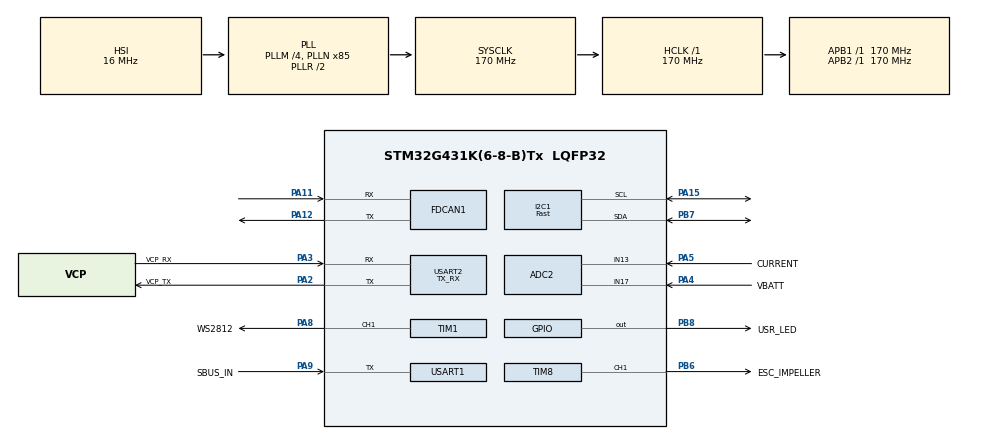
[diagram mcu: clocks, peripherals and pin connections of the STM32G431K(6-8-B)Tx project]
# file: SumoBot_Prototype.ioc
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ADC2.Channel-0\#ChannelRegularConversion=ADC_CHANNEL_17
ADC2.ClockPrescaler=ADC_CLOCK_ASYNC_DIV64
ADC2.NbrOfConversionFlag=1
ADC2.OffsetNumber-0\#ChannelRegularConversion=ADC_OFFSET_NONE
ADC2.Rank-0\#ChannelRegularConversion=1
ADC2.SamplingTime-0\#ChannelRegularConversion=ADC_SAMPLETIME_2CYCLES_5
Dma.ADC2.2.Direction=DMA_PERIPH_TO_MEMORY
Dma.ADC2.2.EventEnable=DISABLE
Dma.ADC2.2.Instance=DMA1_Channel5
Dma.ADC2.2.MemDataAlignment=DMA_MDATAALIGN_HALFWORD
Dma.ADC2.2.MemInc=DMA_MINC_ENABLE
Dma.ADC2.2.Mode=DMA_NORMAL
Dma.ADC2.2.PeriphDataAlignment=DMA_PDATAALIGN_HALFWORD
Dma.ADC2.2.PeriphInc=DMA_PINC_DISABLE
Dma.ADC2.2.Polarity=HAL_DMAMUX_REQ_GEN_RISING
Dma.ADC2.2.Priority=DMA_PRIORITY_LOW
Dma.ADC2.2.RequestNumber=1
Dma.ADC2.2.SignalID=NONE
Dma.ADC2.2.SyncEnable=DISABLE
Dma.ADC2.2.SyncPolarity=HAL_DMAMUX_SYNC_NO_EVENT
Dma.ADC2.2.SyncRequestNumber=1
Dma.ADC2.2.SyncSignalID=NONE
Dma.FMAC_READ.4.Direction=DMA_PERIPH_TO_MEMORY
Dma.FMAC_READ.4.EventEnable=DISABLE
Dma.FMAC_READ.4.Instance=DMA2_Channel1
Dma.FMAC_READ.4.MemDataAlignment=DMA_MDATAALIGN_HALFWORD
Dma.FMAC_READ.4.MemInc=DMA_MINC_ENABLE
Dma.FMAC_READ.4.Mode=DMA_NORMAL
Dma.FMAC_READ.4.PeriphDataAlignment=DMA_PDATAALIGN_WORD
Dma.FMAC_READ.4.PeriphInc=DMA_PINC_DISABLE
Dma.FMAC_READ.4.Polarity=HAL_DMAMUX_REQ_GEN_RISING
Dma.FMAC_READ.4.Priority=DMA_PRIORITY_MEDIUM
Dma.FMAC_READ.4.RequestNumber=1
Dma.FMAC_READ.4.SignalID=NONE
Dma.FMAC_READ.4.SyncEnable=DISABLE
Dma.FMAC_READ.4.SyncPolarity=HAL_DMAMUX_SYNC_NO_EVENT
Dma.FMAC_READ.4.SyncRequestNumber=1
Dma.FMAC_READ.4.SyncSignalID=NONE
Dma.FMAC_WRITE.3.Direction=DMA_MEMORY_TO_PERIPH
Dma.FMAC_WRITE.3.EventEnable=DISABLE
Dma.FMAC_WRITE.3.Instance=DMA1_Channel6
Dma.FMAC_WRITE.3.MemDataAlignment=DMA_MDATAALIGN_HALFWORD
Dma.FMAC_WRITE.3.MemInc=DMA_MINC_ENABLE
Dma.FMAC_WRITE.3.Mode=DMA_NORMAL
Dma.FMAC_WRITE.3.PeriphDataAlignment=DMA_PDATAALIGN_WORD
Dma.FMAC_WRITE.3.PeriphInc=DMA_PINC_DISABLE
Dma.FMAC_WRITE.3.Polarity=HAL_DMAMUX_REQ_GEN_RISING
Dma.FMAC_WRITE.3.Priority=DMA_PRIORITY_MEDIUM
Dma.FMAC_WRITE.3.RequestNumber=1
Dma.FMAC_WRITE.3.SignalID=NONE
Dma.FMAC_WRITE.3.SyncEnable=DISABLE
Dma.FMAC_WRITE.3.SyncPolarity=HAL_DMAMUX_SYNC_NO_EVENT
Dma.FMAC_WRITE.3.SyncRequestNumber=1
Dma.FMAC_WRITE.3.SyncSignalID=NONE
Dma.I2C1_RX.1.Direction=DMA_PERIPH_TO_MEMORY
Dma.I2C1_RX.1.EventEnable=DISABLE
Dma.I2C1_RX.1.Instance=DMA1_Channel2
Dma.I2C1_RX.1.MemDataAlignment=DMA_MDATAALIGN_BYTE
Dma.I2C1_RX.1.MemInc=DMA_MINC_ENABLE
Dma.I2C1_RX.1.Mode=DMA_NORMAL
Dma.I2C1_RX.1.PeriphDataAlignment=DMA_PDATAALIGN_BYTE
Dma.I2C1_RX.1.PeriphInc=DMA_PINC_DISABLE
Dma.I2C1_RX.1.Polarity=HAL_DMAMUX_REQ_GEN_RISING
Dma.I2C1_RX.1.Priority=DMA_PRIORITY_MEDIUM
Dma.I2C1_RX.1.RequestNumber=1
Dma.I2C1_RX.1.SignalID=NONE
Dma.I2C1_RX.1.SyncEnable=DISABLE
Dma.I2C1_RX.1.SyncPolarity=HAL_DMAMUX_SYNC_NO_EVENT
Dma.I2C1_RX.1.SyncRequestNumber=1
Dma.I2C1_RX.1.SyncSignalID=NONE
Dma.Request0=TIM1_CH1
Dma.Request1=I2C1_RX
Dma.Request2=ADC2
Dma.Request3=FMAC_WRITE
Dma.Request4=FMAC_READ
Dma.Request5=USART1_RX
Dma.Request6=USART2_TX
Dma.Request7=TIM8_CH1
Dma.TIM1_CH1.0.Direction=DMA_MEMORY_TO_PERIPH
Dma.TIM1_CH1.0.EventEnable=DISABLE
Dma.TIM1_CH1.0.Instance=DMA1_Channel1
Dma.TIM1_CH1.0.MemDataAlignment=DMA_MDATAALIGN_WORD
Dma.TIM1_CH1.0.MemInc=DMA_MINC_ENABLE
Dma.TIM1_CH1.0.Mode=DMA_CIRCULAR
Dma.TIM1_CH1.0.PeriphDataAlignment=DMA_PDATAALIGN_WORD
Dma.TIM1_CH1.0.PeriphInc=DMA_PINC_DISABLE
Dma.TIM1_CH1.0.Polarity=HAL_DMAMUX_REQ_GEN_RISING
Dma.TIM1_CH1.0.Priority=DMA_PRIORITY_LOW
Dma.TIM1_CH1.0.RequestNumber=1
Dma.TIM1_CH1.0.SignalID=NONE
Dma.TIM1_CH1.0.SyncEnable=DISABLE
Dma.TIM1_CH1.0.SyncPolarity=HAL_DMAMUX_SYNC_NO_EVENT
Dma.TIM1_CH1.0.SyncRequestNumber=1
Dma.TIM1_CH1.0.SyncSignalID=NONE
Dma.TIM8_CH1.7.Direction=DMA_PERIPH_TO_MEMORY
Dma.TIM8_CH1.7.EventEnable=DISABLE
Dma.TIM8_CH1.7.Instance=DMA2_Channel3
Dma.TIM8_CH1.7.MemDataAlignment=DMA_MDATAALIGN_HALFWORD
Dma.TIM8_CH1.7.MemInc=DMA_MINC_ENABLE
Dma.TIM8_CH1.7.Mode=DMA_CIRCULAR
Dma.TIM8_CH1.7.PeriphDataAlignment=DMA_PDATAALIGN_HALFWORD
Dma.TIM8_CH1.7.PeriphInc=DMA_PINC_DISABLE
Dma.TIM8_CH1.7.Polarity=HAL_DMAMUX_REQ_GEN_RISING
Dma.TIM8_CH1.7.Priority=DMA_PRIORITY_HIGH
Dma.TIM8_CH1.7.RequestNumber=1
Dma.TIM8_CH1.7.SignalID=NONE
Dma.TIM8_CH1.7.SyncEnable=DISABLE
Dma.TIM8_CH1.7.SyncPolarity=HAL_DMAMUX_SYNC_NO_EVENT
Dma.TIM8_CH1.7.SyncRequestNumber=1
Dma.TIM8_CH1.7.SyncSignalID=NONE
Dma.USART1_RX.5.Direction=DMA_PERIPH_TO_MEMORY
Dma.USART1_RX.5.EventEnable=DISABLE
Dma.USART1_RX.5.Instance=DMA1_Channel3
Dma.USART1_RX.5.MemDataAlignment=DMA_MDATAALIGN_BYTE
Dma.USART1_RX.5.MemInc=DMA_MINC_ENABLE
Dma.USART1_RX.5.Mode=DMA_NORMAL
Dma.USART1_RX.5.PeriphDataAlignment=DMA_PDATAALIGN_BYTE
Dma.USART1_RX.5.PeriphInc=DMA_PINC_DISABLE
Dma.USART1_RX.5.Polarity=HAL_DMAMUX_REQ_GEN_RISING
Dma.USART1_RX.5.Priority=DMA_PRIORITY_VERY_HIGH
Dma.USART1_RX.5.RequestNumber=1
Dma.USART1_RX.5.SignalID=NONE
Dma.USART1_RX.5.SyncEnable=DISABLE
Dma.USART1_RX.5.SyncPolarity=HAL_DMAMUX_SYNC_NO_EVENT
Dma.USART1_RX.5.SyncRequestNumber=1
Dma.USART1_RX.5.SyncSignalID=NONE
Dma.USART2_TX.6.Direction=DMA_MEMORY_TO_PERIPH
Dma.USART2_TX.6.EventEnable=DISABLE
Dma.USART2_TX.6.Instance=DMA1_Channel4
Dma.USART2_TX.6.MemDataAlignment=DMA_MDATAALIGN_BYTE
Dma.USART2_TX.6.MemInc=DMA_MINC_ENABLE
Dma.USART2_TX.6.Mode=DMA_NORMAL
Dma.USART2_TX.6.PeriphDataAlignment=DMA_PDATAALIGN_BYTE
Dma.USART2_TX.6.PeriphInc=DMA_PINC_DISABLE
Dma.USART2_TX.6.Polarity=HAL_DMAMUX_REQ_GEN_RISING
Dma.USART2_TX.6.Priority=DMA_PRIORITY_LOW
Dma.USART2_TX.6.RequestNumber=1
Dma.USART2_TX.6.SignalID=NONE
Dma.USART2_TX.6.SyncEnable=DISABLE
Dma.USART2_TX.6.SyncPolarity=HAL_DMAMUX_SYNC_NO_EVENT
Dma.USART2_TX.6.SyncRequestNumber=1
Dma.USART2_TX.6.SyncSignalID=NONE
FREERTOS.HEAP_NUMBER=4
FREERTOS.Tasks01=defaultTask,24,128,StartDefaultTask,Default,NULL,Dynamic,NULL,NULL;IMU_6500,40,128,Read_IMU,Default,NULL,Dynamic,NULL,NULL
FREERTOS.Timers01=ESC_Impeller,Update_ESC,osTimerPeriodic,Default,NULL,Dynamic,NULL
I2C1.CustomTiming=Disabled
I2C1.I2C_Speed_Mode=I2C_Fast
I2C1.Timing=0x10802D9B
Mcu.Family=STM32G4
Mcu.Name=STM32G431K(6-8-B)Tx
Mcu.Package=LQFP32
NVIC.DMA1_Channel1_IRQn=true\:5\:0\:false\:false\:true\:true\:false\:true
NVIC.DMA1_Channel2_IRQn=true\:5\:0\:false\:false\:true\:true\:false\:true
NVIC.DMA1_Channel3_IRQn=true\:5\:0\:false\:false\:true\:true\:false\:true
NVIC.DMA1_Channel4_IRQn=true\:5\:0\:false\:false\:true\:true\:false\:true
NVIC.DMA1_Channel5_IRQn=true\:5\:0\:false\:false\:true\:true\:false\:true
NVIC.DMA1_Channel6_IRQn=true\:5\:0\:false\:false\:true\:true\:false\:true
NVIC.DMA2_Channel1_IRQn=true\:5\:0\:false\:false\:true\:true\:false\:true
NVIC.DMA2_Channel3_IRQn=true\:5\:0\:false\:false\:true\:true\:false\:true
NVIC.PriorityGroup=NVIC_PRIORITYGROUP_4
NVIC.TIM1_TRG_COM_TIM17_IRQn=true\:0\:0\:false\:false\:true\:false\:false\:true
NVIC.TimeBase=TIM1_TRG_COM_TIM17_IRQn
NVIC.TimeBaseIP=TIM17
PA11.Mode=FDCANFD
PA11.Signal=FDCAN1_RX
PA12.Mode=FDCANFD
PA12.Signal=FDCAN1_TX
PA13.Mode=Serial_Wire
PA13.Signal=SYS_JTMS-SWDIO
PA14.Mode=Serial_Wire
PA14.Signal=SYS_JTCK-SWCLK
PA15.GPIO_PuPdOD=GPIO_NOPULL
PA15.Mode=I2C
PA15.Signal=I2C1_SCL
PA2.GPIO_Label=VCP_TX
PA2.Mode=Asynchronous
PA2.Signal=USART2_TX
PA3.GPIO_Label=VCP_RX
PA3.Mode=Asynchronous
PA3.Signal=USART2_RX
PA4.GPIO_Label=VBATT
PA4.Mode=IN17-Single-Ended
PA4.Signal=ADC2_IN17
PA5.GPIO_Label=CURRENT
PA5.Mode=IN13-Single-Ended
PA5.Signal=ADC2_IN13
PA8.GPIO_Label=WS2812
PA8.Signal=S_TIM1_CH1
PA9.GPIO_Label=SBUS_IN
PA9.Mode=Half_duplex(single_wire_mode)
PA9.Signal=USART1_TX
PB6.GPIO_Label=ESC_IMPELLER
PB6.Signal=S_TIM8_CH1
PB7.GPIO_PuPdOD=GPIO_NOPULL
PB7.Mode=I2C
PB7.Signal=I2C1_SDA
PB8-BOOT0.GPIO_Label=USR_LED
PB8-BOOT0.GPIO_Speed=GPIO_SPEED_FREQ_MEDIUM
PB8-BOOT0.Signal=GPIO_Output
ProjectManager.HeapSize=0x200
ProjectManager.StackSize=0x400
ProjectManager.TargetToolchain=STM32CubeIDE
RCC.ADC12Freq_Value=170000000
RCC.AHBFreq_Value=170000000
RCC.APB1Freq_Value=170000000
RCC.APB1TimFreq_Value=170000000
RCC.APB2Freq_Value=170000000
RCC.APB2TimFreq_Value=170000000
RCC.CortexFreq_Value=170000000
RCC.EXTERNAL_CLOCK_VALUE=12288000
RCC.HCLKFreq_Value=170000000
RCC.HSE_VALUE=8000000
RCC.HSI48_VALUE=48000000
RCC.HSI_VALUE=16000000
RCC.LSE_VALUE=32768
RCC.PLLM=RCC_PLLM_DIV4
RCC.PLLN=85
RCC.SYSCLKFreq_VALUE=170000000
RCC.SYSCLKSource=RCC_SYSCLKSOURCE_PLLCLK
RCC.USBFreq_Value=170000000
RCC.VCOOutputFreq_Value=340000000
SH.S_TIM1_CH1.0=TIM1_CH1,PWM Generation1 CH1
SH.S_TIM8_CH1.0=TIM8_CH1,PWM Generation1 CH1
TIM1.Channel-PWM\ Generation1\ CH1=TIM_CHANNEL_1
TIM1.PeriodNoDither=211
TIM8.Channel-PWM\ Generation1\ CH1=TIM_CHANNEL_1
TIM8.PeriodNoDither=14585
TIM8.Prescaler=34
USART1.BaudRate=100000
USART1.DataInvertParam=ADVFEATURE_DATAINV_ENABLE
USART1.Mode=MODE_RX
USART1.OneBitSampling=UART_ONE_BIT_SAMPLE_ENABLE
USART1.Parity=PARITY_EVEN
USART1.StopBits=STOPBITS_2
USART1.SwapParam=ADVFEATURE_SWAP_DISABLE
USART1.VirtualMode-Half_duplex(single_wire_mode)=VM_ASYNC
USART1.WordLength=WORDLENGTH_9B
USART2.FIFOMode=FIFOMODE_ENABLE
USART2.Mode=MODE_TX_RX
USART2.OneBitSampling=UART_ONE_BIT_SAMPLE_ENABLE
USART2.VirtualMode-Asynchronous=VM_ASYNC
USART2.WordLength=WORDLENGTH_8B
VP_CRC_VS_CRC.Mode=CRC_Activate
VP_FMAC_VS_FMAC.Mode=FMAC_Activate
VP_FREERTOS_VS_CMSIS_V2.Mode=CMSIS_V2
VP_SYS_VS_DBSignals.Mode=DisableDeadBatterySignals
VP_SYS_VS_tim17.Mode=TIM17
VP_TIM1_VS_ClockSourceINT.Mode=Internal
VP_TIM2_VS_ClockSourceINT.Mode=Internal
VP_TIM4_VS_ClockSourceINT.Mode=Internal
board=NUCLEO-G431KB

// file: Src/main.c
/* USER CODE BEGIN Header */
/**
  ******************************************************************************
  * @file           : main.c
  * @brief          : Main program body
  ******************************************************************************
  * @attention
  *
  * <h2><center>&copy; Copyright (c) 2019 STMicroelectronics.
  * All rights reserved.</center></h2>
  *
  * This software component is licensed by ST under BSD 3-Clause license,
  * the "License"; You may not use this file except in compliance with the
  * License. You may obtain a copy of the License at:
  *                        opensource.org/licenses/BSD-3-Clause
  *
  ******************************************************************************
  */
/* USER CODE END Header */

#include "main.h"
#include "cmsis_os.h"

ADC_HandleTypeDef hadc2;
DMA_HandleTypeDef hdma_adc2;

CRC_HandleTypeDef hcrc;

FDCAN_HandleTypeDef hfdcan1;

FMAC_HandleTypeDef hfmac;
DMA_HandleTypeDef hdma_fmac_write;
DMA_HandleTypeDef hdma_fmac_read;

I2C_HandleTypeDef hi2c1;
DMA_HandleTypeDef hdma_i2c1_rx;

TIM_HandleTypeDef htim1;
TIM_HandleTypeDef htim2;
TIM_HandleTypeDef htim4;
TIM_HandleTypeDef htim8;
DMA_HandleTypeDef hdma_tim1_ch1;
DMA_HandleTypeDef hdma_tim8_ch1;

UART_HandleTypeDef huart1;
UART_HandleTypeDef huart2;
DMA_HandleTypeDef hdma_usart1_rx;
DMA_HandleTypeDef hdma_usart2_tx;

osThreadId_t defaultTaskHandle;
osThreadId_t IMU_6500Handle;
osTimerId_t ESC_ImpellerHandle;

void SystemClock_Config(void);
static void MX_GPIO_Init(void);
static void MX_DMA_Init(void);
static void MX_ADC2_Init(void);
static void MX_CRC_Init(void);
static void MX_FMAC_Init(void);
static void MX_I2C1_Init(void);
static void MX_TIM1_Init(void);
static void MX_TIM2_Init(void);
static void MX_TIM4_Init(void);
static void MX_TIM8_Init(void);
static void MX_USART1_UART_Init(void);
static void MX_USART2_UART_Init(void);
static void MX_FDCAN1_Init(void);
void StartDefaultTask(void *argument);
void Read_IMU(void *argument);
void Update_ESC(void *argument);

int main(void)
{

  /* MCU Configuration--------------------------------------------------------*/

  /* Reset of all peripherals, Initializes the Flash interface and the Systick. */
  HAL_Init();

  /* Configure the system clock */
  SystemClock_Config();

  /* Initialize all configured peripherals */
  MX_GPIO_Init();
  MX_DMA_Init();
  MX_ADC2_Init();
  MX_CRC_Init();
  MX_FMAC_Init();
  MX_I2C1_Init();
  MX_TIM1_Init();
  MX_TIM2_Init();
  MX_TIM4_Init();
  MX_TIM8_Init();
  MX_USART1_UART_Init();
  MX_USART2_UART_Init();
  MX_FDCAN1_Init();

  osKernelInitialize();

  /* Create the timer(s) */
  /* definition and creation of ESC_Impeller */
  const osTimerAttr_t ESC_Impeller_attributes = {
    .name = "ESC_Impeller"
  };
  ESC_ImpellerHandle = osTimerNew(Update_ESC, osTimerPeriodic, NULL, &ESC_Impeller_attributes);

  /* Create the thread(s) */
  /* definition and creation of defaultTask */
  const osThreadAttr_t defaultTask_attributes = {
    .name = "defaultTask",
    .priority = (osPriority_t) osPriorityNormal,
    .stack_size = 128
  };
  defaultTaskHandle = osThreadNew(StartDefaultTask, NULL, &defaultTask_attributes);

  /* definition and creation of IMU_6500 */
  const osThreadAttr_t IMU_6500_attributes = {
    .name = "IMU_6500",
    .priority = (osPriority_t) osPriorityHigh,
    .stack_size = 128
  };
  IMU_6500Handle = osThreadNew(Read_IMU, NULL, &IMU_6500_attributes);

  /* Start scheduler */
  osKernelStart();

  /* We should never get here as control is now taken by the scheduler */

  /* Infinite loop */
  while (1)
  {

  }
}

void SystemClock_Config(void)
{
  RCC_OscInitTypeDef RCC_OscInitStruct = {0};
  RCC_ClkInitTypeDef RCC_ClkInitStruct = {0};
  RCC_PeriphCLKInitTypeDef PeriphClkInit = {0};

  /** Configure the main internal regulator output voltage
  */
  HAL_PWREx_ControlVoltageScaling(PWR_REGULATOR_VOLTAGE_SCALE1_BOOST);
  /** Initializes the CPU, AHB and APB busses clocks
  */
  RCC_OscInitStruct.OscillatorType = RCC_OSCILLATORTYPE_HSI;
  RCC_OscInitStruct.HSIState = RCC_HSI_ON;
  RCC_OscInitStruct.HSICalibrationValue = RCC_HSICALIBRATION_DEFAULT;
  RCC_OscInitStruct.PLL.PLLState = RCC_PLL_ON;
  RCC_OscInitStruct.PLL.PLLSource = RCC_PLLSOURCE_HSI;
  RCC_OscInitStruct.PLL.PLLM = RCC_PLLM_DIV4;
  RCC_OscInitStruct.PLL.PLLN = 85;
  RCC_OscInitStruct.PLL.PLLP = RCC_PLLP_DIV2;
  RCC_OscInitStruct.PLL.PLLQ = RCC_PLLQ_DIV2;
  RCC_OscInitStruct.PLL.PLLR = RCC_PLLR_DIV2;
  if (HAL_RCC_OscConfig(&RCC_OscInitStruct) != HAL_OK)
  {
    Error_Handler();
  }
  /** Initializes the CPU, AHB and APB busses clocks
  */
  RCC_ClkInitStruct.ClockType = RCC_CLOCKTYPE_HCLK|RCC_CLOCKTYPE_SYSCLK
                              |RCC_CLOCKTYPE_PCLK1|RCC_CLOCKTYPE_PCLK2;
  RCC_ClkInitStruct.SYSCLKSource = RCC_SYSCLKSOURCE_PLLCLK;
  RCC_ClkInitStruct.AHBCLKDivider = RCC_SYSCLK_DIV1;
  RCC_ClkInitStruct.APB1CLKDivider = RCC_HCLK_DIV1;
  RCC_ClkInitStruct.APB2CLKDivider = RCC_HCLK_DIV1;

  if (HAL_RCC_ClockConfig(&RCC_ClkInitStruct, FLASH_LATENCY_8) != HAL_OK)
  {
    Error_Handler();
  }
  /** Initializes the peripherals clocks
  */
  PeriphClkInit.PeriphClockSelection = RCC_PERIPHCLK_USART1|RCC_PERIPHCLK_USART2
                              |RCC_PERIPHCLK_I2C1|RCC_PERIPHCLK_ADC12
                              |RCC_PERIPHCLK_FDCAN;
  PeriphClkInit.Usart1ClockSelection = RCC_USART1CLKSOURCE_PCLK2;
  PeriphClkInit.Usart2ClockSelection = RCC_USART2CLKSOURCE_PCLK1;
  PeriphClkInit.I2c1ClockSelection = RCC_I2C1CLKSOURCE_PCLK1;
  PeriphClkInit.FdcanClockSelection = RCC_FDCANCLKSOURCE_PCLK1;
  PeriphClkInit.Adc12ClockSelection = RCC_ADC12CLKSOURCE_SYSCLK;
  if (HAL_RCCEx_PeriphCLKConfig(&PeriphClkInit) != HAL_OK)
  {
    Error_Handler();
  }
}

static void MX_ADC2_Init(void)
{

  ADC_ChannelConfTypeDef sConfig = {0};

  /** Common config
  */
  hadc2.Instance = ADC2;
  hadc2.Init.ClockPrescaler = ADC_CLOCK_ASYNC_DIV64;
  hadc2.Init.Resolution = ADC_RESOLUTION_12B;
  hadc2.Init.DataAlign = ADC_DATAALIGN_RIGHT;
  hadc2.Init.GainCompensation = 0;
  hadc2.Init.ScanConvMode = ADC_SCAN_DISABLE;
  hadc2.Init.EOCSelection = ADC_EOC_SINGLE_CONV;
  hadc2.Init.LowPowerAutoWait = DISABLE;
  hadc2.Init.ContinuousConvMode = DISABLE;
  hadc2.Init.NbrOfConversion = 1;
  hadc2.Init.DiscontinuousConvMode = DISABLE;
  hadc2.Init.ExternalTrigConv = ADC_SOFTWARE_START;
  hadc2.Init.ExternalTrigConvEdge = ADC_EXTERNALTRIGCONVEDGE_NONE;
  hadc2.Init.DMAContinuousRequests = DISABLE;
  hadc2.Init.Overrun = ADC_OVR_DATA_PRESERVED;
  hadc2.Init.OversamplingMode = DISABLE;
  if (HAL_ADC_Init(&hadc2) != HAL_OK)
  {
    Error_Handler();
  }
  /** Configure Regular Channel
  */
  sConfig.Channel = ADC_CHANNEL_17;
  sConfig.Rank = ADC_REGULAR_RANK_1;
  sConfig.SamplingTime = ADC_SAMPLETIME_2CYCLES_5;
  sConfig.SingleDiff = ADC_SINGLE_ENDED;
  sConfig.OffsetNumber = ADC_OFFSET_NONE;
  sConfig.Offset = 0;
  if (HAL_ADC_ConfigChannel(&hadc2, &sConfig) != HAL_OK)
  {
    Error_Handler();
  }

}

static void MX_CRC_Init(void)
{

  hcrc.Instance = CRC;
  hcrc.Init.DefaultPolynomialUse = DEFAULT_POLYNOMIAL_ENABLE;
  hcrc.Init.DefaultInitValueUse = DEFAULT_INIT_VALUE_ENABLE;
  hcrc.Init.InputDataInversionMode = CRC_INPUTDATA_INVERSION_NONE;
  hcrc.Init.OutputDataInversionMode = CRC_OUTPUTDATA_INVERSION_DISABLE;
  hcrc.InputDataFormat = CRC_INPUTDATA_FORMAT_BYTES;
  if (HAL_CRC_Init(&hcrc) != HAL_OK)
  {
    Error_Handler();
  }

}

static void MX_FDCAN1_Init(void)
{

  hfdcan1.Instance = FDCAN1;
  hfdcan1.Init.ClockDivider = FDCAN_CLOCK_DIV1;
  hfdcan1.Init.FrameFormat = FDCAN_FRAME_FD_NO_BRS;
  hfdcan1.Init.Mode = FDCAN_MODE_NORMAL;
  hfdcan1.Init.AutoRetransmission = DISABLE;
  hfdcan1.Init.TransmitPause = DISABLE;
  hfdcan1.Init.ProtocolException = DISABLE;
  hfdcan1.Init.NominalPrescaler = 1;
  hfdcan1.Init.NominalSyncJumpWidth = 1;
  hfdcan1.Init.NominalTimeSeg1 = 2;
  hfdcan1.Init.NominalTimeSeg2 = 2;
  hfdcan1.Init.DataPrescaler = 1;
  hfdcan1.Init.DataSyncJumpWidth = 1;
  hfdcan1.Init.DataTimeSeg1 = 1;
  hfdcan1.Init.DataTimeSeg2 = 1;
  hfdcan1.Init.StdFiltersNbr = 0;
  hfdcan1.Init.ExtFiltersNbr = 0;
  hfdcan1.Init.TxFifoQueueMode = FDCAN_TX_FIFO_OPERATION;
  if (HAL_FDCAN_Init(&hfdcan1) != HAL_OK)
  {
    Error_Handler();
  }

}

static void MX_FMAC_Init(void)
{

  hfmac.Instance = FMAC;
  if (HAL_FMAC_Init(&hfmac) != HAL_OK)
  {
    Error_Handler();
  }

}

static void MX_I2C1_Init(void)
{

  hi2c1.Instance = I2C1;
  hi2c1.Init.Timing = 0x10802D9B;
  hi2c1.Init.OwnAddress1 = 0;
  hi2c1.Init.AddressingMode = I2C_ADDRESSINGMODE_7BIT;
  hi2c1.Init.DualAddressMode = I2C_DUALADDRESS_DISABLE;
  hi2c1.Init.OwnAddress2 = 0;
  hi2c1.Init.OwnAddress2Masks = I2C_OA2_NOMASK;
  hi2c1.Init.GeneralCallMode = I2C_GENERALCALL_DISABLE;
  hi2c1.Init.NoStretchMode = I2C_NOSTRETCH_DISABLE;
  if (HAL_I2C_Init(&hi2c1) != HAL_OK)
  {
    Error_Handler();
  }
  /** Configure Analogue filter
  */
  if (HAL_I2CEx_ConfigAnalogFilter(&hi2c1, I2C_ANALOGFILTER_ENABLE) != HAL_OK)
  {
    Error_Handler();
  }
  /** Configure Digital filter
  */
  if (HAL_I2CEx_ConfigDigitalFilter(&hi2c1, 0) != HAL_OK)
  {
    Error_Handler();
  }

}

static void MX_TIM1_Init(void)
{

  TIM_ClockConfigTypeDef sClockSourceConfig = {0};
  TIM_MasterConfigTypeDef sMasterConfig = {0};
  TIM_OC_InitTypeDef sConfigOC = {0};
  TIM_BreakDeadTimeConfigTypeDef sBreakDeadTimeConfig = {0};

  htim1.Instance = TIM1;
  htim1.Init.Prescaler = 0;
  htim1.Init.CounterMode = TIM_COUNTERMODE_UP;
  htim1.Init.Period = 211;
  htim1.Init.ClockDivision = TIM_CLOCKDIVISION_DIV1;
  htim1.Init.RepetitionCounter = 0;
  htim1.Init.AutoReloadPreload = TIM_AUTORELOAD_PRELOAD_DISABLE;
  if (HAL_TIM_Base_Init(&htim1) != HAL_OK)
  {
    Error_Handler();
  }
  sClockSourceConfig.ClockSource = TIM_CLOCKSOURCE_INTERNAL;
  if (HAL_TIM_ConfigClockSource(&htim1, &sClockSourceConfig) != HAL_OK)
  {
    Error_Handler();
  }
  if (HAL_TIM_PWM_Init(&htim1) != HAL_OK)
  {
    Error_Handler();
  }
  sMasterConfig.MasterOutputTrigger = TIM_TRGO_RESET;
  sMasterConfig.MasterOutputTrigger2 = TIM_TRGO2_RESET;
  sMasterConfig.MasterSlaveMode = TIM_MASTERSLAVEMODE_DISABLE;
  if (HAL_TIMEx_MasterConfigSynchronization(&htim1, &sMasterConfig) != HAL_OK)
  {
    Error_Handler();
  }
  sConfigOC.OCMode = TIM_OCMODE_PWM1;
  sConfigOC.Pulse = 0;
  sConfigOC.OCPolarity = TIM_OCPOLARITY_HIGH;
  sConfigOC.OCNPolarity = TIM_OCNPOLARITY_HIGH;
  sConfigOC.OCFastMode = TIM_OCFAST_DISABLE;
  sConfigOC.OCIdleState = TIM_OCIDLESTATE_RESET;
  sConfigOC.OCNIdleState = TIM_OCNIDLESTATE_RESET;
  if (HAL_TIM_PWM_ConfigChannel(&htim1, &sConfigOC, TIM_CHANNEL_1) != HAL_OK)
  {
    Error_Handler();
  }
  sBreakDeadTimeConfig.OffStateRunMode = TIM_OSSR_DISABLE;
  sBreakDeadTimeConfig.OffStateIDLEMode = TIM_OSSI_DISABLE;
  sBreakDeadTimeConfig.LockLevel = TIM_LOCKLEVEL_OFF;
  sBreakDeadTimeConfig.DeadTime = 0;
  sBreakDeadTimeConfig.BreakState = TIM_BREAK_DISABLE;
  sBreakDeadTimeConfig.BreakPolarity = TIM_BREAKPOLARITY_HIGH;
  sBreakDeadTimeConfig.BreakFilter = 0;
  sBreakDeadTimeConfig.BreakAFMode = TIM_BREAK_AFMODE_INPUT;
  sBreakDeadTimeConfig.Break2State = TIM_BREAK2_DISABLE;
  sBreakDeadTimeConfig.Break2Polarity = TIM_BREAK2POLARITY_HIGH;
  sBreakDeadTimeConfig.Break2Filter = 0;
  sBreakDeadTimeConfig.Break2AFMode = TIM_BREAK_AFMODE_INPUT;
  sBreakDeadTimeConfig.AutomaticOutput = TIM_AUTOMATICOUTPUT_DISABLE;
  if (HAL_TIMEx_ConfigBreakDeadTime(&htim1, &sBreakDeadTimeConfig) != HAL_OK)
  {
    Error_Handler();
  }
  HAL_TIM_MspPostInit(&htim1);

}

static void MX_TIM2_Init(void)
{

  TIM_ClockConfigTypeDef sClockSourceConfig = {0};
  TIM_MasterConfigTypeDef sMasterConfig = {0};

  htim2.Instance = TIM2;
  htim2.Init.Prescaler = 0;
  htim2.Init.CounterMode = TIM_COUNTERMODE_UP;
  htim2.Init.Period = 0;
  htim2.Init.ClockDivision = TIM_CLOCKDIVISION_DIV1;
  htim2.Init.AutoReloadPreload = TIM_AUTORELOAD_PRELOAD_DISABLE;
  if (HAL_TIM_Base_Init(&htim2) != HAL_OK)
  {
    Error_Handler();
  }
  sClockSourceConfig.ClockSource = TIM_CLOCKSOURCE_INTERNAL;
  if (HAL_TIM_ConfigClockSource(&htim2, &sClockSourceConfig) != HAL_OK)
  {
    Error_Handler();
  }
  sMasterConfig.MasterOutputTrigger = TIM_TRGO_RESET;
  sMasterConfig.MasterSlaveMode = TIM_MASTERSLAVEMODE_DISABLE;
  if (HAL_TIMEx_MasterConfigSynchronization(&htim2, &sMasterConfig) != HAL_OK)
  {
    Error_Handler();
  }

}

static void MX_TIM4_Init(void)
{

  TIM_ClockConfigTypeDef sClockSourceConfig = {0};
  TIM_MasterConfigTypeDef sMasterConfig = {0};

  htim4.Instance = TIM4;
  htim4.Init.Prescaler = 0;
  htim4.Init.CounterMode = TIM_COUNTERMODE_UP;
  htim4.Init.Period = 0;
  htim4.Init.ClockDivision = TIM_CLOCKDIVISION_DIV1;
  htim4.Init.AutoReloadPreload = TIM_AUTORELOAD_PRELOAD_DISABLE;
  if (HAL_TIM_Base_Init(&htim4) != HAL_OK)
  {
    Error_Handler();
  }
  sClockSourceConfig.ClockSource = TIM_CLOCKSOURCE_INTERNAL;
  if (HAL_TIM_ConfigClockSource(&htim4, &sClockSourceConfig) != HAL_OK)
  {
    Error_Handler();
  }
  sMasterConfig.MasterOutputTrigger = TIM_TRGO_RESET;
  sMasterConfig.MasterSlaveMode = TIM_MASTERSLAVEMODE_DISABLE;
  if (HAL_TIMEx_MasterConfigSynchronization(&htim4, &sMasterConfig) != HAL_OK)
  {
    Error_Handler();
  }

}

static void MX_TIM8_Init(void)
{

  TIM_MasterConfigTypeDef sMasterConfig = {0};
  TIM_OC_InitTypeDef sConfigOC = {0};
  TIM_BreakDeadTimeConfigTypeDef sBreakDeadTimeConfig = {0};

  htim8.Instance = TIM8;
  htim8.Init.Prescaler = 34;
  htim8.Init.CounterMode = TIM_COUNTERMODE_UP;
  htim8.Init.Period = 14585;
  htim8.Init.ClockDivision = TIM_CLOCKDIVISION_DIV1;
  htim8.Init.RepetitionCounter = 0;
  htim8.Init.AutoReloadPreload = TIM_AUTORELOAD_PRELOAD_DISABLE;
  if (HAL_TIM_PWM_Init(&htim8) != HAL_OK)
  {
    Error_Handler();
  }
  sMasterConfig.MasterOutputTrigger = TIM_TRGO_RESET;
  sMasterConfig.MasterOutputTrigger2 = TIM_TRGO2_RESET;
  sMasterConfig.MasterSlaveMode = TIM_MASTERSLAVEMODE_DISABLE;
  if (HAL_TIMEx_MasterConfigSynchronization(&htim8, &sMasterConfig) != HAL_OK)
  {
    Error_Handler();
  }
  sConfigOC.OCMode = TIM_OCMODE_PWM1;
  sConfigOC.Pulse = 0;
  sConfigOC.OCPolarity = TIM_OCPOLARITY_HIGH;
  sConfigOC.OCNPolarity = TIM_OCNPOLARITY_HIGH;
  sConfigOC.OCFastMode = TIM_OCFAST_DISABLE;
  sConfigOC.OCIdleState = TIM_OCIDLESTATE_RESET;
  sConfigOC.OCNIdleState = TIM_OCNIDLESTATE_RESET;
  if (HAL_TIM_PWM_ConfigChannel(&htim8, &sConfigOC, TIM_CHANNEL_1) != HAL_OK)
  {
    Error_Handler();
  }
  sBreakDeadTimeConfig.OffStateRunMode = TIM_OSSR_DISABLE;
  sBreakDeadTimeConfig.OffStateIDLEMode = TIM_OSSI_DISABLE;
  sBreakDeadTimeConfig.LockLevel = TIM_LOCKLEVEL_OFF;
  sBreakDeadTimeConfig.DeadTime = 0;
  sBreakDeadTimeConfig.BreakState = TIM_BREAK_DISABLE;
  sBreakDeadTimeConfig.BreakPolarity = TIM_BREAKPOLARITY_HIGH;
  sBreakDeadTimeConfig.BreakFilter = 0;
  sBreakDeadTimeConfig.BreakAFMode = TIM_BREAK_AFMODE_INPUT;
  sBreakDeadTimeConfig.Break2State = TIM_BREAK2_DISABLE;
  sBreakDeadTimeConfig.Break2Polarity = TIM_BREAK2POLARITY_HIGH;
  sBreakDeadTimeConfig.Break2Filter = 0;
  sBreakDeadTimeConfig.Break2AFMode = TIM_BREAK_AFMODE_INPUT;
  sBreakDeadTimeConfig.AutomaticOutput = TIM_AUTOMATICOUTPUT_DISABLE;
  if (HAL_TIMEx_ConfigBreakDeadTime(&htim8, &sBreakDeadTimeConfig) != HAL_OK)
  {
    Error_Handler();
  }
  HAL_TIM_MspPostInit(&htim8);

}

static void MX_USART1_UART_Init(void)
{

  huart1.Instance = USART1;
  huart1.Init.BaudRate = 100000;
  huart1.Init.WordLength = UART_WORDLENGTH_9B;
  huart1.Init.StopBits = UART_STOPBITS_2;
  huart1.Init.Parity = UART_PARITY_EVEN;
  huart1.Init.Mode = UART_MODE_RX;
  huart1.Init.HwFlowCtl = UART_HWCONTROL_NONE;
  huart1.Init.OverSampling = UART_OVERSAMPLING_16;
  huart1.Init.OneBitSampling = UART_ONE_BIT_SAMPLE_ENABLE;
  huart1.Init.ClockPrescaler = UART_PRESCALER_DIV1;
  huart1.AdvancedInit.AdvFeatureInit = UART_ADVFEATURE_DATAINVERT_INIT;
  huart1.AdvancedInit.DataInvert = UART_ADVFEATURE_DATAINV_ENABLE;
  if (HAL_HalfDuplex_Init(&huart1) != HAL_OK)
  {
    Error_Handler();
  }
  if (HAL_UARTEx_SetTxFifoThreshold(&huart1, UART_TXFIFO_THRESHOLD_1_8) != HAL_OK)
  {
    Error_Handler();
  }
  if (HAL_UARTEx_SetRxFifoThreshold(&huart1, UART_RXFIFO_THRESHOLD_1_8) != HAL_OK)
  {
    Error_Handler();
  }
  if (HAL_UARTEx_DisableFifoMode(&huart1) != HAL_OK)
  {
    Error_Handler();
  }

}

static void MX_USART2_UART_Init(void)
{

  huart2.Instance = USART2;
  huart2.Init.BaudRate = 115200;
  huart2.Init.WordLength = UART_WORDLENGTH_8B;
  huart2.Init.StopBits = UART_STOPBITS_1;
  huart2.Init.Parity = UART_PARITY_NONE;
  huart2.Init.Mode = UART_MODE_TX_RX;
  huart2.Init.HwFlowCtl = UART_HWCONTROL_NONE;
  huart2.Init.OverSampling = UART_OVERSAMPLING_16;
  huart2.Init.OneBitSampling = UART_ONE_BIT_SAMPLE_ENABLE;
  huart2.Init.ClockPrescaler = UART_PRESCALER_DIV1;
  huart2.AdvancedInit.AdvFeatureInit = UART_ADVFEATURE_NO_INIT;
  if (HAL_UART_Init(&huart2) != HAL_OK)
  {
    Error_Handler();
  }
  if (HAL_UARTEx_SetTxFifoThreshold(&huart2, UART_TXFIFO_THRESHOLD_1_8) != HAL_OK)
  {
    Error_Handler();
  }
  if (HAL_UARTEx_SetRxFifoThreshold(&huart2, UART_RXFIFO_THRESHOLD_1_8) != HAL_OK)
  {
    Error_Handler();
  }
  if (HAL_UARTEx_EnableFifoMode(&huart2) != HAL_OK)
  {
    Error_Handler();
  }

}

static void MX_DMA_Init(void)
{

  /* DMA controller clock enable */
  __HAL_RCC_DMAMUX1_CLK_ENABLE();
  __HAL_RCC_DMA1_CLK_ENABLE();
  __HAL_RCC_DMA2_CLK_ENABLE();

  /* DMA interrupt init */
  /* DMA1_Channel1_IRQn interrupt configuration */
  HAL_NVIC_SetPriority(DMA1_Channel1_IRQn, 5, 0);
  HAL_NVIC_EnableIRQ(DMA1_Channel1_IRQn);
  /* DMA1_Channel2_IRQn interrupt configuration */
  HAL_NVIC_SetPriority(DMA1_Channel2_IRQn, 5, 0);
  HAL_NVIC_EnableIRQ(DMA1_Channel2_IRQn);
  /* DMA1_Channel3_IRQn interrupt configuration */
  HAL_NVIC_SetPriority(DMA1_Channel3_IRQn, 5, 0);
  HAL_NVIC_EnableIRQ(DMA1_Channel3_IRQn);
  /* DMA1_Channel4_IRQn interrupt configuration */
  HAL_NVIC_SetPriority(DMA1_Channel4_IRQn, 5, 0);
  HAL_NVIC_EnableIRQ(DMA1_Channel4_IRQn);
  /* DMA1_Channel5_IRQn interrupt configuration */
  HAL_NVIC_SetPriority(DMA1_Channel5_IRQn, 5, 0);
  HAL_NVIC_EnableIRQ(DMA1_Channel5_IRQn);
  /* DMA1_Channel6_IRQn interrupt configuration */
  HAL_NVIC_SetPriority(DMA1_Channel6_IRQn, 5, 0);
  HAL_NVIC_EnableIRQ(DMA1_Channel6_IRQn);
  /* DMA2_Channel1_IRQn interrupt configuration */
  HAL_NVIC_SetPriority(DMA2_Channel1_IRQn, 5, 0);
  HAL_NVIC_EnableIRQ(DMA2_Channel1_IRQn);
  /* DMA2_Channel3_IRQn interrupt configuration */
  HAL_NVIC_SetPriority(DMA2_Channel3_IRQn, 5, 0);
  HAL_NVIC_EnableIRQ(DMA2_Channel3_IRQn);

}

static void MX_GPIO_Init(void)
{
  GPIO_InitTypeDef GPIO_InitStruct = {0};

  /* GPIO Ports Clock Enable */
  __HAL_RCC_GPIOF_CLK_ENABLE();
  __HAL_RCC_GPIOG_CLK_ENABLE();
  __HAL_RCC_GPIOA_CLK_ENABLE();
  __HAL_RCC_GPIOB_CLK_ENABLE();

  /*Configure GPIO pin Output Level */
  HAL_GPIO_WritePin(USR_LED_GPIO_Port, USR_LED_Pin, GPIO_PIN_RESET);

  /*Configure GPIO pins : PF0 PF1 */
  GPIO_InitStruct.Pin = GPIO_PIN_0|GPIO_PIN_1;
  GPIO_InitStruct.Mode = GPIO_MODE_ANALOG;
  GPIO_InitStruct.Pull = GPIO_NOPULL;
  HAL_GPIO_Init(GPIOF, &GPIO_InitStruct);

  /*Configure GPIO pin : PG10 */
  GPIO_InitStruct.Pin = GPIO_PIN_10;
  GPIO_InitStruct.Mode = GPIO_MODE_ANALOG;
  GPIO_InitStruct.Pull = GPIO_NOPULL;
  HAL_GPIO_Init(GPIOG, &GPIO_InitStruct);

  /*Configure GPIO pins : PA0 PA1 PA6 PA7
                           PA10 */
  GPIO_InitStruct.Pin = GPIO_PIN_0|GPIO_PIN_1|GPIO_PIN_6|GPIO_PIN_7
                          |GPIO_PIN_10;
  GPIO_InitStruct.Mode = GPIO_MODE_ANALOG;
  GPIO_InitStruct.Pull = GPIO_NOPULL;
  HAL_GPIO_Init(GPIOA, &GPIO_InitStruct);

  /*Configure GPIO pins : PB0 PB3 PB4 PB5 */
  GPIO_InitStruct.Pin = GPIO_PIN_0|GPIO_PIN_3|GPIO_PIN_4|GPIO_PIN_5;
  GPIO_InitStruct.Mode = GPIO_MODE_ANALOG;
  GPIO_InitStruct.Pull = GPIO_NOPULL;
  HAL_GPIO_Init(GPIOB, &GPIO_InitStruct);

  /*Configure GPIO pin : USR_LED_Pin */
  GPIO_InitStruct.Pin = USR_LED_Pin;
  GPIO_InitStruct.Mode = GPIO_MODE_OUTPUT_PP;
  GPIO_InitStruct.Pull = GPIO_NOPULL;
  GPIO_InitStruct.Speed = GPIO_SPEED_FREQ_MEDIUM;
  HAL_GPIO_Init(USR_LED_GPIO_Port, &GPIO_InitStruct);

}

/* USER CODE BEGIN 4 */
uint16_t servo_pos = 6563;
/* USER CODE END 4 */

void StartDefaultTask(void *argument)
{

  /* USER CODE BEGIN 5 */

	char hello[] = "Hi there\n\r";

	//Servo position is given by 14585 / Duty_Cycle
	//30% - 60% duty cycle
	//4375 - 6563 - 8751
	extern uint16_t servo_pos;
	servo_pos = 6563;
	HAL_TIM_Base_Start(&htim8);
	//HAL_TIM_PWM_Start_DMA(&htim8, TIM_CHANNEL_1, (uint32_t*) &servo_pos, 1);

  /* Infinite loop */
  while(1){
	  HAL_GPIO_TogglePin(GPIOB, USR_LED_Pin);
	  HAL_UART_Transmit_DMA(&huart2,(uint8_t*) &hello, 10);
	  HAL_TIM_PWM_Start_DMA(&htim8, TIM_CHANNEL_1, (uint32_t*) &servo_pos, 1);

	  osDelay(50);
  }
  /* USER CODE END 5 */
}

void Read_IMU(void *argument)
{
  /* USER CODE BEGIN Read_IMU */
	extern uint16_t servo_pos;
  /* Infinite loop */
  for(;;)
  {
	  for(servo_pos = 4375; servo_pos == 6563; servo_pos++)
		  osDelay(200);
	  osDelay(2000);
	  for(servo_pos = 6563; servo_pos == 8751; servo_pos++)
		  osDelay(200);

	  for(servo_pos = 8751; servo_pos == 6563; servo_pos--)
		  osDelay(200);
	  osDelay(2000);
	  for(servo_pos = 6563; servo_pos == 4375; servo_pos--)
		  osDelay(200);
    //osDelay(1);
  }
  /* USER CODE END Read_IMU */
}

/* Update_ESC function */
void Update_ESC(void *argument)
{
}

void HAL_TIM_PeriodElapsedCallback(TIM_HandleTypeDef *htim)
{
  if (htim->Instance == TIM17) {
    HAL_IncTick();
  }
}

void Error_Handler(void)
{
}

/************************ (C) COPYRIGHT STMicroelectronics *****END OF FILE****/
